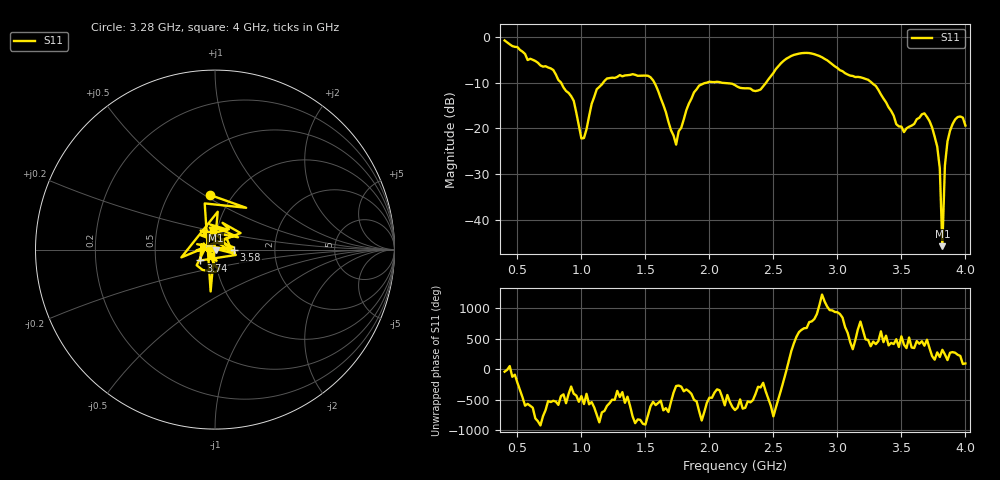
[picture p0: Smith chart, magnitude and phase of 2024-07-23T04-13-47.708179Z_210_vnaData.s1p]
!Created with skrf (http://scikit-rf.org).
# Hz S RI R 50.0
!freq ReS11 ImS11
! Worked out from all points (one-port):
!   181 points, 400 MHz to 4 GHz, reference 50 ohm
!   lowest |S11| = -45.8 dB at 3.82 GHz (marker M1), VSWR 1.01, Z = 50.4 - j0.328 ohm
!   |S11| at or under -10 dB: 1.57 GHz to 1.982 GHz (412.1 MHz wide, 23.2 % of centre); 2.093 GHz to 2.443 GHz (349.7 MHz wide, 15.4 % of centre); 3.267 GHz to end of sweep (the widest 3 of 4)
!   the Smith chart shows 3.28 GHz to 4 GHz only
!   S11 on the Smith chart (normalised r, x): 3.28 GHz: 0.79, +0.53; 3.58 GHz: 1.24, -0.01; 3.74 GHz: 0.84, -0.10; 4 GHz: 0.96, +0.21
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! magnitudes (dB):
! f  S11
! 400 MHz  -0.8
! 780 MHz  -7.2
! 860 MHz  -11.1
! 940 MHz  -14.0
! 1 GHz  -22.2
! 1.02 GHz  -22.1
! 1.12 GHz  -11.5
! 1.3 GHz  -8.4
! 1.54 GHz  -8.8
! 1.74 GHz  -23.6
! 1.76 GHz  -20.6
! 1.92 GHz  -10.7
! 2.2 GHz  -10.6
! 2.4 GHz  -11.5
! 2.66 GHz  -3.9
! 3.1 GHz  -8.5
! 3.28 GHz  -10.3
! 3.46 GHz  -19.1
! 3.56 GHz  -19.7
! 3.58 GHz  -19.4
! 3.68 GHz  -16.7
! 3.74 GHz  -19.8
! 3.8 GHz  -28.8
! 3.82 GHz  -45.8
! 3.84 GHz  -28.2
! 3.86 GHz  -22.9
! 3.94 GHz  -17.5
! 4 GHz  -19.4
